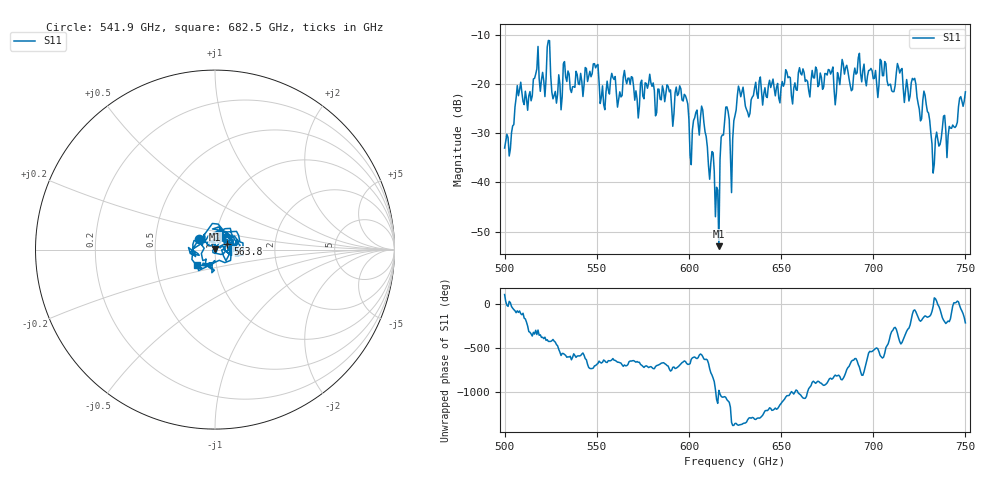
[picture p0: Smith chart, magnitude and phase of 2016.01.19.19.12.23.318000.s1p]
!Created with skrf (http://scikit-rf.org).
# GHz S RI R 50.0
!freq ReS11 ImS11
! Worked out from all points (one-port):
!   401 points, 500 GHz to 750 GHz, reference 50 ohm
!   lowest |S11| = -52.9 dB at 616.2 GHz (marker M1), VSWR 1.00, Z = 50 + j0.225 ohm
!   |S11| at or under -10 dB: start of sweep to end of sweep
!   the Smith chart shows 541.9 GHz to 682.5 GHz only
!   S11 on the Smith chart (normalised r, x): 541.9 GHz: 0.83, +0.10; 563.8 GHz: 1.15, +0.08; 682.5 GHz: 0.81, -0.14
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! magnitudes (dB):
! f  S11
! 500 GHz  -33.0
! 507.5 GHz  -22.4
! 516.9 GHz  -18.0
! 531.2 GHz  -22.6
! 541.9 GHz  -19.5
! 549.4 GHz  -16.8
! 553.1 GHz  -20.4
! 558.8 GHz  -18.7
! 562.5 GHz  -21.6
! 563.8 GHz  -22.4
! 593.8 GHz  -22.4
! 601.2 GHz  -36.4
! 607.5 GHz  -25.3
! 615 GHz  -41.0
! 616.2 GHz  -52.9
! 619.4 GHz  -27.5
! 623.1 GHz  -42.1
! 625 GHz  -26.4
! 628.1 GHz  -22.6
! 631.9 GHz  -25.8
! 656.2 GHz  -24.1
! 682.5 GHz  -17.6
! 687.5 GHz  -20.3
! 714.4 GHz  -17.8
! 718.8 GHz  -20.9
! 728.8 GHz  -24.2
! 732.5 GHz  -38.1
! 750 GHz  -21.6
